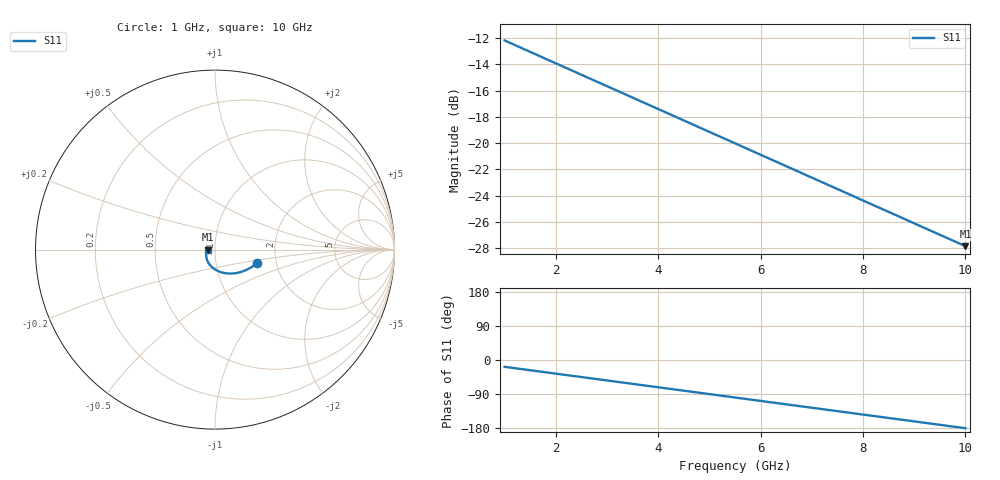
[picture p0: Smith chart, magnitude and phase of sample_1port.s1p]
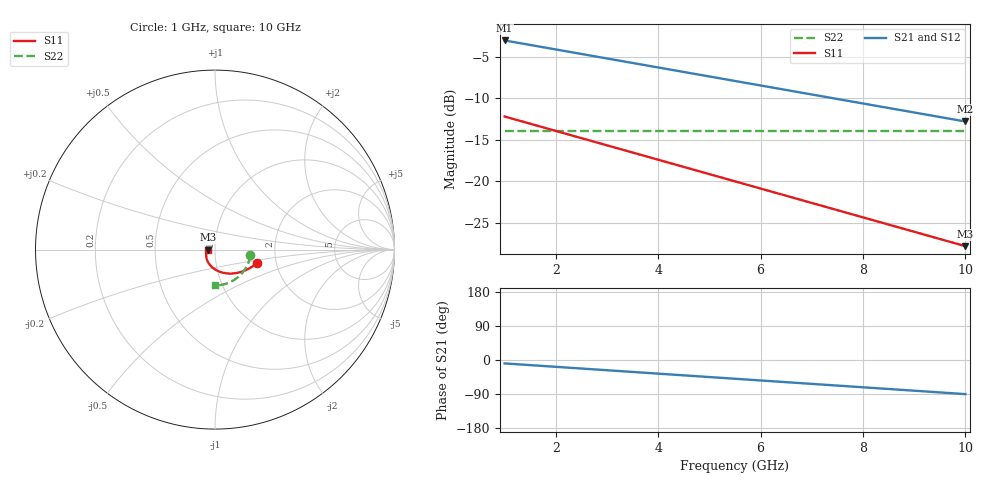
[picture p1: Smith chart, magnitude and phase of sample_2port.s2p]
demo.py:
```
#!/usr/bin/env python3
"""
Demo script showing how to use the S-Parameter plotting application programmatically.
This creates sample touchstone data for demonstration purposes.
"""
import numpy as np
import skrf as rf

def create_sample_touchstone_files():
    """Create sample touchstone files for demonstration."""
    print("Creating sample touchstone files...")
    
    # Create frequency vector (1-10 GHz)
    freq = rf.Frequency(1e9, 10e9, 1001)
    
    # Create sample S-parameter data
    # S11: Simple reflection with some frequency dependence
    s11_mag = 0.3 * np.exp(-freq.f / 5e9)  # Decaying magnitude
    s11_phase = -180 * freq.f / 10e9       # Linear phase
    
    # Convert to complex
    s11 = s11_mag * np.exp(1j * np.deg2rad(s11_phase))
    
    # Create 1-port network
    ntw1 = rf.Network(frequency=freq, s=s11.reshape(-1, 1, 1))
    ntw1.name = 'sample_1port'
    ntw1.write_touchstone('sample_1port.s1p')
    print("✓ Created sample_1port.s1p")
    
    # Create 2-port network with transmission
    s21_mag = 0.8 * np.exp(-freq.f / 8e9)  # Decaying transmission
    s21_phase = -90 * freq.f / 10e9        # Linear phase
    s21 = s21_mag * np.exp(1j * np.deg2rad(s21_phase))
    
    s22 = 0.2 * np.exp(1j * np.deg2rad(s21_phase))  # Different reflection
    s12 = s21  # Reciprocal network
    
    # Create 2x2 S-matrix
    s_matrix = np.zeros((len(freq), 2, 2), dtype=complex)
    s_matrix[:, 0, 0] = s11  # S11
    s_matrix[:, 0, 1] = s21  # S12
    s_matrix[:, 1, 0] = s21  # S21
    s_matrix[:, 1, 1] = s22  # S22
    
    # Create 2-port network
    ntw2 = rf.Network(frequency=freq, s=s_matrix)
    ntw2.name = 'sample_2port'
    ntw2.write_touchstone('sample_2port.s2p')
    print("✓ Created sample_2port.s2p")
    
    print("\nSample files created successfully!")
    print("You can now load these files in the S-Parameter Plotting Tool:")
    print("- sample_1port.s1p (1-port data)")
    print("- sample_2port.s2p (2-port data)")
    
    return ['sample_1port.s1p', 'sample_2port.s2p']

if __name__ == "__main__":
    files = create_sample_touchstone_files()
    print(f"\nCreated {len(files)} sample touchstone files for testing.")
```
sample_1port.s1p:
! Created with skrf 1.8.0 (http://scikit-rf.org).
# Hz S RI R 50.0
!freq ReS11 ImS11
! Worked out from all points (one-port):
!   1001 points, 1 GHz to 10 GHz, reference 50 ohm
!   lowest |S11| = -27.8 dB at 10 GHz (marker M1), VSWR 1.08, Z = 46.1 - j4.59e-16 ohm
!   |S11| at or under -10 dB: start of sweep to end of sweep
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1e9  0.2336 -0.0759
1.693e9  0.1843 -0.1084
2.035e9  0.1603 -0.1191
2.395e9  0.1357 -0.127
3.16e9  0.0871 -0.1336
4.006e9  0.0414 -0.1281
4.735e9  0.00968 -0.116
5.464e9  -0.0146 -0.0995
6.211e9  -0.0322 -0.0804
7.003e9  -0.0435 -0.0598
7.642e9  -0.048 -0.0439
8.335e9  -0.0491 -0.0283
9.19e9  -0.0462 -0.012
1e10  -0.0406 -4.97e-18
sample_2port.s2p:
! Created with skrf 1.8.0 (http://scikit-rf.org).
# Hz S RI R 50.0
!freq ReS11 ImS11 ReS21 ImS21 ReS12 ImS12 ReS22 ImS22
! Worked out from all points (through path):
!   1001 points, 1 GHz to 10 GHz, reference 50 ohm
!   highest |S21| = -3.02 dB at 1 GHz (marker M1); lowest = -12.8 dB at 10 GHz (marker M2)
!   group delay of S21, straight-line fit = 25 ps
!   lowest |S11| = -27.8 dB at 10 GHz (marker M3), VSWR 1.08, Z = 46.1 - j4.59e-16 ohm
!   |S11| at or under -10 dB: start of sweep to end of sweep
!   |S22| runs from -14.0 to -14.0 dB; largest |S21 - S12| = 0
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1e9  0.2336 -0.0759  0.6973 -0.1104  0.6973 -0.1104  0.1975 -0.0313
1.531e9  0.1958 -0.1022  0.6416 -0.1574  0.6416 -0.1574  0.1942 -0.0476
2.026e9  0.1609 -0.1189  0.5898 -0.1943  0.5898 -0.1943  0.19 -0.0626
2.557e9  0.1249 -0.1295  0.5349 -0.2272  0.5349 -0.2272  0.1841 -0.0782
3.124e9  0.0893 -0.1335  0.4775 -0.2551  0.4775 -0.2551  0.1764 -0.0943
4.267e9  0.0292 -0.1244  0.3678 -0.2915  0.3678 -0.2915  0.1567 -0.1242
5.5e9  -0.0156 -0.0986  0.2613 -0.3059  0.2613 -0.3059  0.1299 -0.1521
6.571e9  -0.0382 -0.071  0.1805 -0.302  0.1805 -0.302  0.1026 -0.1717
7.741e9  -0.0484 -0.0416  0.1056 -0.285  0.1056 -0.285  0.0695 -0.1875
8.875e9  -0.0477 -0.0176  0.0464 -0.2597  0.0464 -0.2597  0.0352 -0.1969
1e10  -0.0406 -4.97e-18  1.4e-17 -0.2292  1.4e-17 -0.2292  1.22e-17 -0.2
